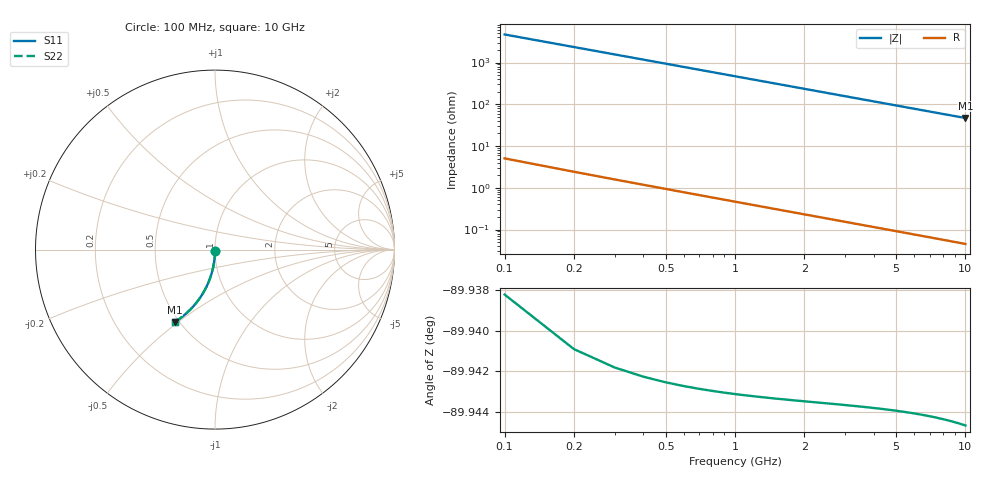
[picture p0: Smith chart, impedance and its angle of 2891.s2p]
# Hz S RI R 50.00
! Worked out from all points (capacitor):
!   100 points, 100 MHz to 10 GHz, reference 50 ohm
!   read as one part in shunt: C = 339 fF near 100 MHz
!   lowest |Z| = 46.9 ohm at 10 GHz (marker M1)
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1e8  8.24e-06 -0.0052  0.9999 -0.00546  0.9999 -0.00546  8.24e-06 -0.0052
2e8  -8.19e-05 -0.0104  0.9998 -0.0109  0.9998 -0.0109  -8.19e-05 -0.0104
3e8  -0.000229 -0.0156  0.9997 -0.0164  0.9997 -0.0164  -0.000229 -0.0156
4e8  -0.000432 -0.0208  0.9995 -0.0218  0.9995 -0.0218  -0.000432 -0.0208
5e8  -0.000693 -0.026  0.9992 -0.0273  0.9992 -0.0273  -0.000693 -0.026
6e8  -0.00101 -0.0311  0.9989 -0.0327  0.9989 -0.0327  -0.00101 -0.0311
7e8  -0.00138 -0.0363  0.9985 -0.0382  0.9985 -0.0382  -0.00138 -0.0363
8e8  -0.00181 -0.0415  0.9981 -0.0436  0.9981 -0.0436  -0.00181 -0.0415
9e8  -0.0023 -0.0467  0.9976 -0.0491  0.9976 -0.0491  -0.0023 -0.0467
1.1e9  -0.00344 -0.057  0.9965 -0.0599  0.9965 -0.0599  -0.00344 -0.057
1.4e9  -0.00557 -0.0724  0.9943 -0.0761  0.9943 -0.0761  -0.00557 -0.0724
1.8e9  -0.00917 -0.0927  0.9907 -0.0975  0.9907 -0.0975  -0.00917 -0.0927
2.1e9  -0.0124 -0.1078  0.9874 -0.1134  0.9874 -0.1134  -0.0124 -0.1078
2.5e9  -0.0176 -0.1277  0.9823 -0.1344  0.9823 -0.1344  -0.0176 -0.1277
2.9e9  -0.0235 -0.1472  0.9764 -0.155  0.9764 -0.155  -0.0235 -0.1472
3.4e9  -0.032 -0.1711  0.9679 -0.1802  0.9679 -0.1802  -0.032 -0.1711
4.2e9  -0.048 -0.2079  0.9518 -0.2192  0.9518 -0.2192  -0.048 -0.2079
5.1e9  -0.0693 -0.2468  0.9305 -0.2605  0.9305 -0.2605  -0.0693 -0.2468
5.9e9  -0.0907 -0.2789  0.9091 -0.2948  0.9091 -0.2948  -0.0907 -0.2789
6.7e9  -0.1141 -0.3085  0.8856 -0.3267  0.8856 -0.3267  -0.1141 -0.3085
8.4e9  -0.1687 -0.3627  0.8309 -0.3856  0.8309 -0.3856  -0.1687 -0.3627
1e10  -0.2238 -0.4028  0.7757 -0.4301  0.7757 -0.4301  -0.2238 -0.4028
